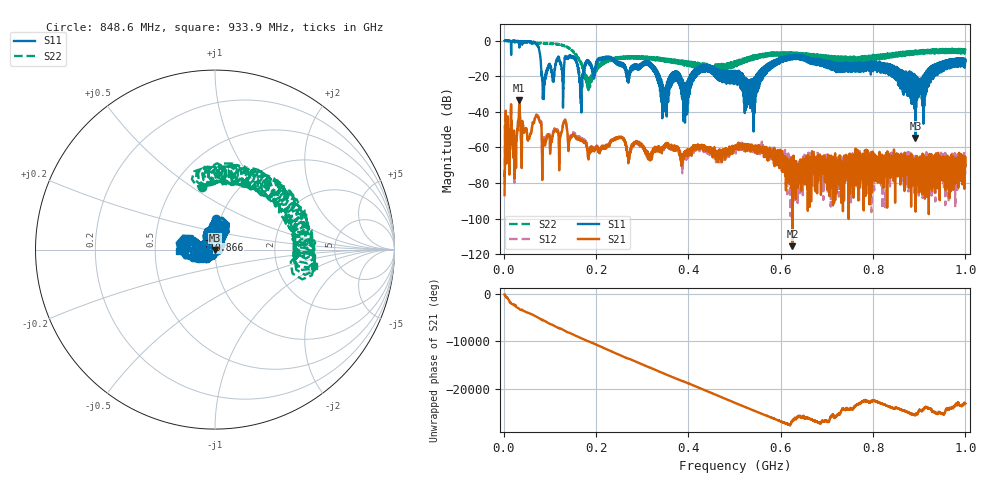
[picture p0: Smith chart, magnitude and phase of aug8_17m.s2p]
!Keysight Technologies N9923A: A.12.45
!Date: Friday, 08 August 2025 17:39:48
!Timezone: (UTC+08:00) Kuala Lumpur, Singapore
!Model: N9923A
!Serial: MY61181427
!GPS Latitude:
!GPS Longitude:
!GPS TimeStamp: 0001-01-01 00:00:00Z
!GPS Seconds Since Last Read: 0
!CHECKSUM:1737307075
!Correction: S11(ON U)S21(ON U)S12(ON U)S22(ON U)
!S2P File: Measurements:S11,S21,S12,S22:
# Hz S DB R 50
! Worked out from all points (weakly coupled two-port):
!   4001 points, 2 MHz to 1 GHz, reference 50 ohm
!   highest |S21| = -33.51 dB at 33.94 MHz (marker M1); lowest = -115.5 dB at 625.5 MHz (marker M2)
!   lowest |S11| = -54.7 dB at 891.7 MHz (marker M3), VSWR 1.00, Z = 49.9 - j0.142 ohm
!   |S11| at or under -10 dB: 155.1 MHz to 205.9 MHz (50.86 MHz wide, 28.2 % of centre); 234.5 MHz to 597.8 MHz (363.3 MHz wide, 87.3 % of centre); 667.2 MHz to 981 MHz (313.8 MHz wide, 38.1 % of centre) (the widest 3 of 71)
!   |S22| runs from -27.9 to 0.0 dB; largest |S21 - S12| = 0.0013
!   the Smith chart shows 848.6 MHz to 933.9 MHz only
!   S11 on the Smith chart (normalised r, x): 848.6 MHz: 0.95, +0.33; 866 MHz: 0.93, +0.10; 933.9 MHz: 0.66, -0.01
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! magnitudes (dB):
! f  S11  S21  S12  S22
! 2 MHz  -0.1  -86.9  -80.7  0.0
! 33.94 MHz  -4.0  -33.5  -33.3  -0.8
! 72.11 MHz  -2.3  -42.7  -42.2  -1.3
! 86.83 MHz  -32.9  -56.4  -54.5  -1.7
! 131.7 MHz  -10.5  -45.5  -44.9  -3.1
! 145.2 MHz  -8.5  -54.7  -53.7  -5.2
! 168.4 MHz  -35.8  -55.8  -55.2  -13.3
! 183.6 MHz  -11.5  -66.8  -64.8  -27.9
! 222.6 MHz  -9.1  -58.5  -59.8  -11.1
! 334.8 MHz  -19.3  -60.8  -59.7  -11.3
! 348.3 MHz  -33.6  -59.0  -60.4  -11.8
! 370.5 MHz  -17.3  -60.8  -60.3  -11.8
! 501 MHz  -16.9  -59.4  -60.4  -14.6
! 538.2 MHz  -24.6  -60.6  -61.4  -11.1
! 625.5 MHz  -9.9  -115.5  -76.2  -8.2
! 667.4 MHz  -10.4  -69.9  -70.0  -8.3
! 833.8 MHz  -18.1  -68.3  -70.9  -8.2
! 848.6 MHz  -15.4  -67.1  -66.7  -9.0
! 866 MHz  -24.0  -67.1  -71.2  -6.8
! 891.7 MHz  -54.7  -70.8  -71.7  -5.7
! 933.9 MHz  -13.8  -85.4  -70.8  -5.0
! 1 GHz  -11.7  -70.5  -70.2  -6.0
